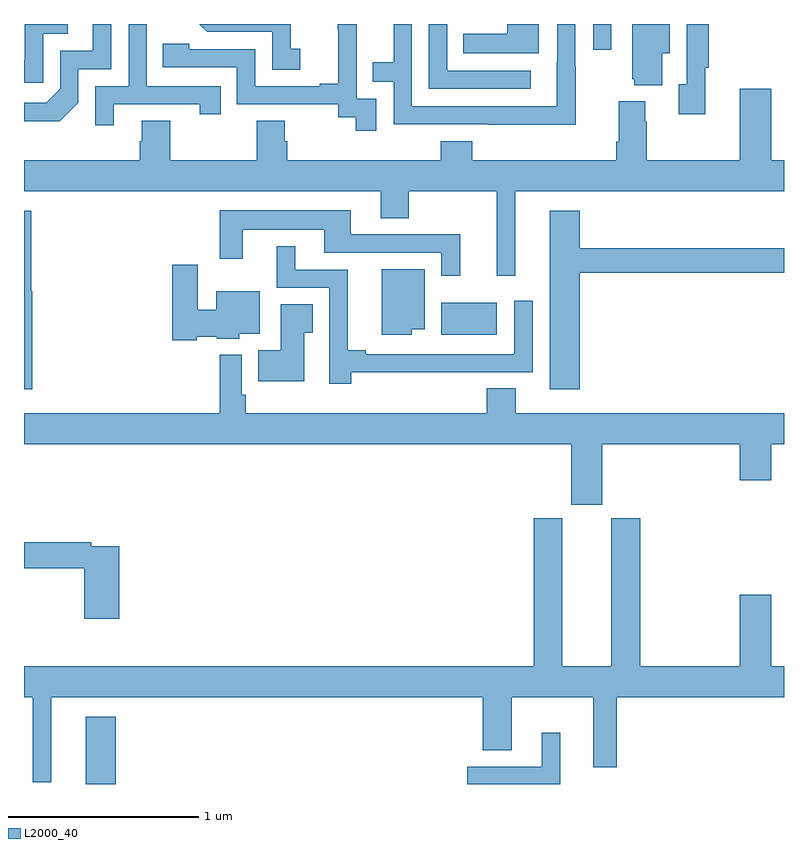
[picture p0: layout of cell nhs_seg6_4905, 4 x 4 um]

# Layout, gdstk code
import gdstk
lib = gdstk.Library(unit=1e-6, precision=1e-09)
def R(c, l, rs):  # rectangles x0, y0, x1, y1
    for r in rs: c.add(gdstk.rectangle(r[:2], r[2:], *l))
def P(c, l, *ps):  # polygons
    for p in ps: c.add(gdstk.Polygon(p, *l))
L2000_40 = (2000, 40)

nhs_seg6_4905 = lib.new_cell('nhs_seg6_4905')
R(nhs_seg6_4905, L2000_40, [(401.324,993.5,401.483,993.853), (403.196,995.864,403.489,996.034), (403.995,997.365,404.091,997.5)])
P(nhs_seg6_4905, L2000_40, [(401.286,997.086),(401.286,997.263),(401.46,997.263),(401.46,997.5),(401.363,997.5),(401.363,997.359),(401.19,997.359),(401.19,997.158),(401.118,997.086),(401,997.086),(401,996.989),(401.188,996.989)],
  [(404.585,997.27),(404.603,997.27),(404.603,997.5),(404.487,997.5),(404.487,997.182),(404.447,997.182),(404.447,997.026),(404.585,997.026)],
  [(404.359,997.346),(404.398,997.346),(404.398,997.5),(404.201,997.5),(404.201,997.209),(404.213,997.209),(404.213,997.178),(404.359,997.178)],
  [(403.666,997.254),(403.227,997.254),(403.227,997.5),(403.131,997.5),(403.131,997.158),(403.666,997.158)],
  [(403.708,997.5),(403.543,997.5),(403.543,997.45),(403.312,997.45),(403.312,997.346),(403.708,997.346)],
  [(403.905,997.277),(403.902,997.277),(403.902,997.5),(403.806,997.5),(403.806,997.298),(403.805,997.298),(403.805,997.068),(403.041,997.068),(403.041,997.5),(402.945,997.5),(402.945,997.298),(402.835,997.298),(402.835,997.197),(402.945,997.197),(402.945,996.972),(403.441,996.972),(403.441,996.971),(403.905,996.971)],
  [(401.1,997.449),(401.229,997.449),(401.229,997.5),(401.003,997.5),(401.003,997.311),(401,997.311),(401,997.191),(401.1,997.191)],
  [(402.855,997.107),(402.75,997.107),(402.75,997.337),(402.752,997.337),(402.752,997.5),(402.652,997.5),(402.652,997.469),(402.653,997.469),(402.653,997.186),(402.557,997.186),(402.557,997.173),(402.216,997.173),(402.216,997.368),(401.871,997.368),(401.871,997.395),(401.731,997.395),(401.731,997.272),(402.12,997.272),(402.12,997.077),(402.654,997.077),(402.654,997.009),(402.747,997.009),(402.747,996.939),(402.855,996.939)],
  [(401.473,997.077),(401.924,997.077),(401.924,997.026),(402.035,997.026),(402.035,997.173),(401.646,997.173),(401.646,997.5),(401.55,997.5),(401.55,997.173),(401.376,997.173),(401.376,996.966),(401.473,996.966)],
  [(402.454,997.369),(402.405,997.369),(402.405,997.5),(401.922,997.5),(401.964,997.458),(402.306,997.458),(402.306,997.26),(402.454,997.26)],
  [(403.586,996.62),(405,996.62),(405,996.784),(404.932,996.784),(404.932,997.159),(404.768,997.159),(404.768,996.784),(404.277,996.784),(404.277,996.986),(404.269,996.986),(404.269,997.093),(404.129,997.093),(404.129,996.88),(404.117,996.88),(404.117,996.784),(403.358,996.784),(403.358,996.883),(403.193,996.883),(403.193,996.784),(402.386,996.784),(402.386,996.882),(402.373,996.882),(402.373,996.992),(402.226,996.992),(402.226,996.784),(401.769,996.784),(401.769,996.992),(401.621,996.992),(401.621,996.882),(401.609,996.882),(401.609,996.784),(401,996.784),(401,996.62),(402.878,996.62),(402.878,996.478),(403.026,996.478),(403.026,996.62),(403.487,996.62),(403.487,996.174),(403.586,996.174)],
  [(403.295,996.393),(402.721,996.393),(402.721,996.52),(402.03,996.52),(402.03,996.264),(402.151,996.264),(402.151,996.416),(402.581,996.416),(402.581,996.297),(403.197,996.297),(403.197,996.174),(403.295,996.174)],
  [(403.925,996.19),(405,996.19),(405,996.319),(403.925,996.319),(403.925,996.517),(403.766,996.517),(403.766,995.577),(403.925,995.577)],
  [(401.044,996.093),(401.039,996.093),(401.039,996.517),(401,996.517),(401,995.577),(401.044,995.577)],
  [(402.722,995.666),(403.352,995.666),(403.352,995.667),(403.677,995.667),(403.677,996.043),(403.581,996.043),(403.581,995.763),(402.799,995.763),(402.799,995.783),(402.704,995.783),(402.704,996.207),(402.427,996.207),(402.427,996.331),(402.329,996.331),(402.329,996.111),(402.606,996.111),(402.606,995.607),(402.722,995.607)],
  [(401.91,995.854),(402.015,995.854),(402.015,995.843),(402.132,995.843),(402.132,995.87),(402.241,995.87),(402.241,996.094),(402.011,996.094),(402.011,995.996),(401.914,995.996),(401.914,996.232),(401.78,996.232),(401.78,995.836),(401.91,995.836)],
  [(403.042,995.894),(403.108,995.894),(403.108,996.208),(402.884,996.208),(402.884,995.864),(403.042,995.864)],
  [(402.475,995.875),(402.521,995.875),(402.521,996.026),(402.35,996.026),(402.35,995.782),(402.232,995.782),(402.232,995.621),(402.475,995.621)],
  [(404.044,995.288),(404.768,995.288),(404.768,995.1),(404.932,995.1),(404.932,995.288),(405,995.288),(405,995.452),(403.588,995.452),(403.588,995.582),(403.436,995.582),(403.436,995.452),(402.167,995.452),(402.167,995.548),(402.147,995.548),(402.147,995.758),(402.031,995.758),(402.031,995.452),(401,995.452),(401,995.288),(403.88,995.288),(403.88,994.971),(404.044,994.971)],
  [(401.144,993.956),(403.415,993.956),(403.415,993.677),(403.567,993.677),(403.567,993.956),(403.997,993.956),(403.997,993.588),(404.119,993.588),(404.119,993.956),(405,993.956),(405,994.12),(404.932,994.12),(404.932,994.495),(404.768,994.495),(404.768,994.12),(404.243,994.12),(404.243,994.899),(404.09,994.899),(404.09,994.12),(403.834,994.12),(403.834,994.899),(403.682,994.899),(403.682,994.12),(401,994.12),(401,993.956),(401.045,993.956),(401.045,993.51),(401.144,993.51)],
  [(401.501,994.752),(401.354,994.752),(401.354,994.772),(401,994.772),(401,994.636),(401.318,994.636),(401.318,994.371),(401.501,994.371)],
  [(403.822,993.769),(403.724,993.769),(403.724,993.592),(403.334,993.592),(403.334,993.5),(403.822,993.5)])

lib.write_gds('nhs_seg6_4905.gds')
